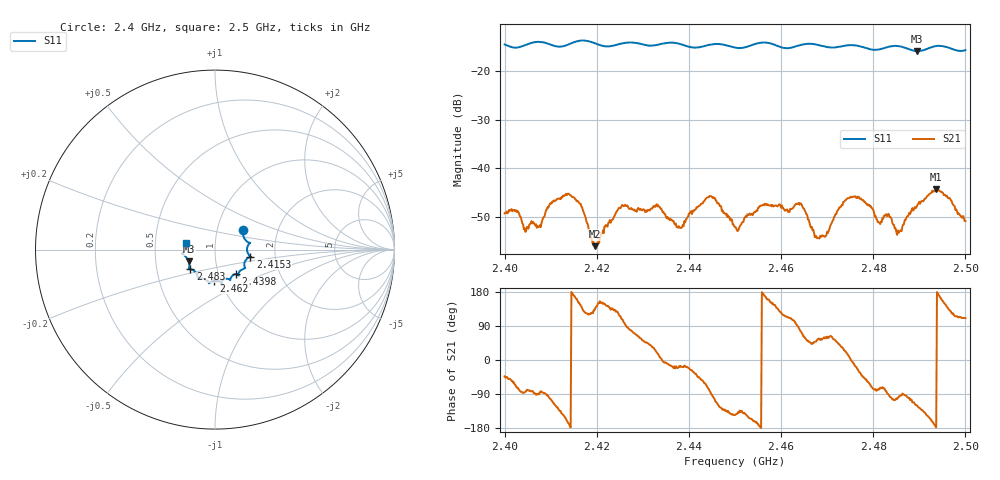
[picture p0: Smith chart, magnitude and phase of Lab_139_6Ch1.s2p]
# Hz S RI R 50
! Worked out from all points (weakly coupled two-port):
!   601 points, 2.4 GHz to 2.5 GHz, reference 50 ohm
!   highest |S21| = -44.31 dB at 2.4937 GHz (marker M1); lowest = -56.0 dB at 2.4197 GHz (marker M2)
!   lowest |S11| = -15.9 dB at 2.4895 GHz (marker M3), VSWR 1.38, Z = 36.9 - j4.99 ohm
!   |S11| at or under -10 dB: start of sweep to end of sweep
!   S12 and S22 are empty: the file has one direction only
!   S11 on the Smith chart (normalised r, x): 2.4 GHz: 1.33, +0.29; 2.4153 GHz: 1.48, -0.12; 2.4398 GHz: 1.21, -0.34; 2.462 GHz: 0.93, -0.33; 2.483 GHz: 0.74, -0.17; 2.5 GHz: 0.72, +0.06
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2.4e9  0.1549 0.1065  0.00251 -0.00235  0 0  0 0
2.404667e9  0.1814 0.0426  0.000285 -0.00225  0 0  0 0
2.415333e9  0.1963 -0.0385  -0.00463 0.00122  0 0  0 0
2.416667e9  0.202 -0.0424  -0.00312 0.00257  0 0  0 0
2.419667e9  0.1877 -0.0444  -0.00114 0.00109  0 0  0 0
2.425167e9  0.1651 -0.0965  -0.00164 0.00353  0 0  0 0
2.433333e9  0.1313 -0.1337  0.00402 0.0011  0 0  0 0
2.437833e9  0.1296 -0.1409  0.00243 -0.000723  0 0  0 0
2.439833e9  0.1153 -0.1365  0.00298 -0.00112  0 0  0 0
2.445e9  0.0846 -0.1686  -0.000176 -0.00508  0 0  0 0
2.45e9  0.0646 -0.1623  -0.00204 -0.00142  0 0  0 0
2.462e9  -0.00511 -0.1732  -0.00132 0.0036  0 0  0 0
2.464333e9  -0.0292 -0.1839  0.00113 0.00416  0 0  0 0
2.466667e9  -0.0341 -0.1876  0.00185 0.00167  0 0  0 0
2.469667e9  -0.0447 -0.1723  0.00103 0.00171  0 0  0 0
2.4755e9  -0.0931 -0.1597  0.00506 -0.000475  0 0  0 0
2.483e9  -0.1378 -0.1096  0.000156 -0.0032  0 0  0 0
2.483333e9  -0.1402 -0.1093  -7.35e-05 -0.00339  0 0  0 0
2.485667e9  -0.1459 -0.1056  -0.000211 -0.00222  0 0  0 0
2.4895e9  -0.1463 -0.0658  -0.00204 -0.00355  0 0  0 0
2.493667e9  -0.1796 -0.0242  -0.00608 -0.000242  0 0  0 0
2.5e9  -0.1596 0.0393  -0.00101 0.00268  0 0  0 0
